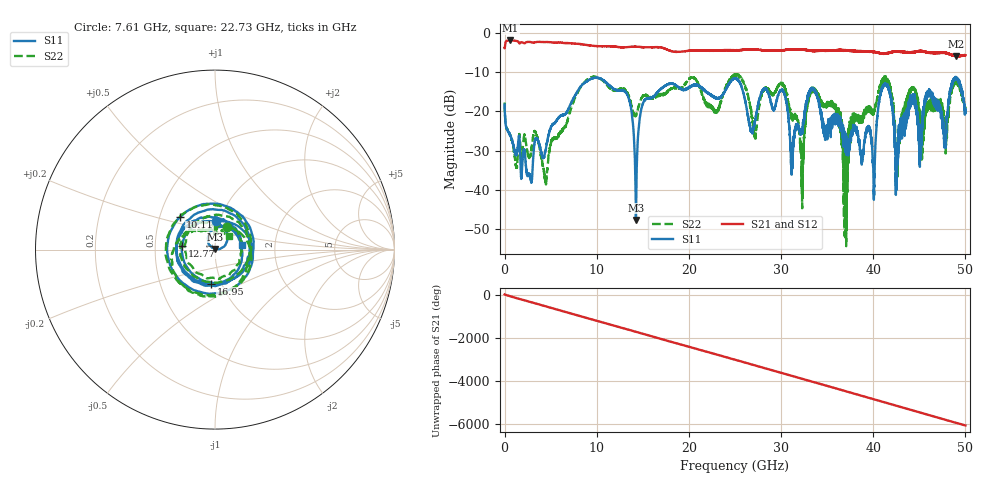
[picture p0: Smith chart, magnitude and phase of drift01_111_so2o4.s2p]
!Created with skrf (http://scikit-rf.org).
# Hz S RI R 50.0
!freq ReS11 ImS11 ReS21 ImS21 ReS12 ImS12 ReS22 ImS22
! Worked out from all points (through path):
!   10001 points, 300 kHz to 50 GHz, reference 50 ohm
!   highest |S21| = -2.00 dB at 625.3 MHz (marker M1); lowest = -6.1 dB at 48.98 GHz (marker M2)
!   group delay of S21, straight-line fit = 336 ps
!   lowest |S11| = -47.6 dB at 14.25 GHz (marker M3), VSWR 1.01, Z = 50.1 + j0.411 ohm
!   |S11| at or under -10 dB: start of sweep to end of sweep
!   |S22| runs from -54.3 to -10.5 dB; largest |S21 - S12| = 0.026
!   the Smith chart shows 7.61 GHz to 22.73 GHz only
!   S11 on the Smith chart (normalised r, x): 7.61 GHz: 0.96, +0.31; 10.11 GHz: 0.64, +0.25; 12.77 GHz: 0.69, +0.03; 16.95 GHz: 0.89, -0.35; 22.73 GHz: 1.35, +0.06
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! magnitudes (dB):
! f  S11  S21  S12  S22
! 300 kHz  -18.3  -4.0  -4.0  -17.8
! 625.3 MHz  -26.1  -2.0  -2.0  -26.1
! 4.445 GHz  -29.9  -2.4  -2.4  -37.5
! 7.61 GHz  -16.1  -2.8  -2.8  -16.8
! 8.335 GHz  -13.5  -3.0  -3.0  -13.5
! 10.11 GHz  -11.5  -3.4  -3.4  -11.3
! 12.77 GHz  -14.7  -3.7  -3.7  -14.4
! 14.25 GHz  -47.6  -3.6  -3.6  -21.2
! 16.67 GHz  -15.0  -3.7  -3.7  -15.8
! 16.95 GHz  -14.3  -3.8  -3.8  -15.6
! 22.73 GHz  -16.4  -4.6  -4.6  -19.7
! 25 GHz  -11.6  -4.5  -4.5  -11.0
! 27.15 GHz  -22.5  -4.3  -4.3  -25.9
! 30.21 GHz  -14.9  -4.5  -4.5  -13.2
! 32.26 GHz  -25.3  -4.3  -4.4  -39.6
! 33.34 GHz  -14.3  -4.6  -4.6  -14.7
! 36.99 GHz  -27.3  -4.5  -4.5  -52.7
! 40.06 GHz  -40.8  -4.9  -4.9  -20.1
! 41.67 GHz  -14.0  -5.1  -5.1  -12.7
! 42.56 GHz  -34.4  -4.8  -4.8  -30.0
! 48.98 GHz  -11.4  -6.1  -6.0  -12.6
! 50 GHz  -19.4  -5.8  -5.8  -19.7
